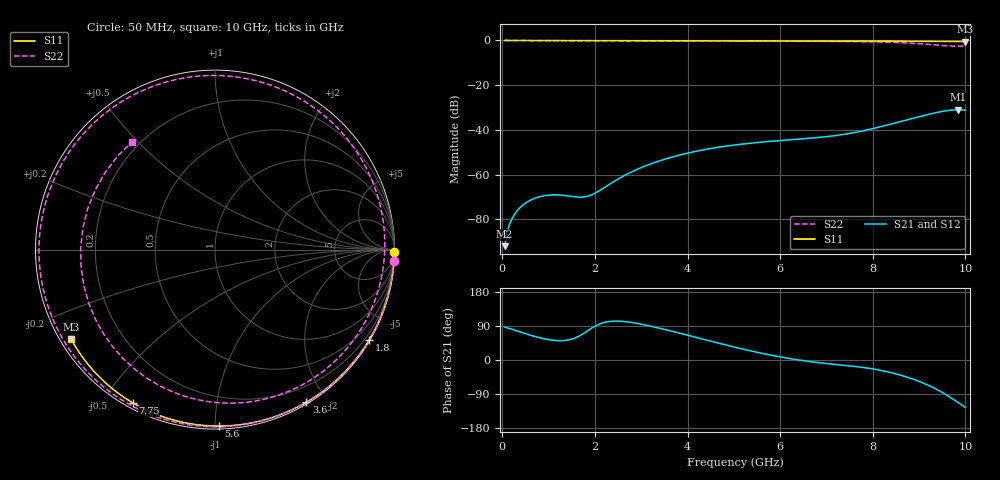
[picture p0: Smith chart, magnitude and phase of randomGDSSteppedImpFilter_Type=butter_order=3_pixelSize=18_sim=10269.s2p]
! freq	dB(S11)	phase(S11)	dB(S12)	phase(S12)
!  dB(S21)	phase(S21)	dB(S22)	phase(S22)
!S-par simulation data
#  GHz  S  DB  R 50
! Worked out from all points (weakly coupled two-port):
!   200 points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, 50 MHz to 10 GHz, reference 50 ohm
!   highest |S21| = -31.01 dB at 9.85 GHz (marker M1); lowest = -92.0 dB at 50 MHz (marker M2)
!   lowest |S11| = -0.5 dB at 10 GHz (marker M3), VSWR 34.73, Z = 1.56 - j14.3 ohm
!   |S11| at or under -10 dB: nowhere
!   |S22| runs from -2.6 to 0.0 dB; largest |S21 - S12| = 0
!   S11 on the Smith chart (normalised r, x): 50 MHz: open; 1.8 GHz: 0.03, -3.70; 3.6 GHz: 0.02, -1.77; 5.6 GHz: 0.02, -1.02; 7.75 GHz: 0.02, -0.60; 10 GHz: 0.03, -0.29
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0.05  -0.00 -0.9  -91.97 86.9  -91.97 86.9  -0.00 -3.5
0.2  -0.00 -3.4  -80.06 81.4  -80.06 81.4  -0.02 -13.9
0.45  -0.01 -7.7  -73.51 71.4  -73.51 71.4  -0.04 -30.9
0.9  -0.02 -15.3  -69.45 56.1  -69.45 56.1  -0.08 -60.3
1.3  -0.03 -22.0  -69.22 51.2  -69.22 51.2  -0.10 -84.7
1.75  -0.04 -29.4  -69.99 69.8  -69.99 69.8  -0.12 -109.7
1.8  -0.04 -30.3  -69.84 73.8  -69.84 73.8  -0.12 -112.3
2.6  -0.06 -43.3  -60.78 101.9  -60.78 101.9  -0.15 -151.2
3.4  -0.07 -55.9  -53.79 83.7  -53.79 83.7  -0.17 174.1
3.6  -0.08 -59.0  -52.52 77.7  -52.52 77.7  -0.18 165.8
4.25  -0.10 -69.0  -49.27 57.4  -49.27 57.4  -0.20 139.4
5.05  -0.12 -80.8  -46.65 32.9  -46.65 32.9  -0.24 107.1
5.6  -0.15 -88.7  -45.44 17.8  -45.44 17.8  -0.27 84.4
6.7  -0.20 -104.1  -43.61 -5.1  -43.61 -5.1  -0.35 37.4
7.25  -0.24 -111.5  -42.37 -12.5  -42.37 -12.5  -0.43 12.5
7.75  -0.27 -118.2  -40.57 -19.0  -40.57 -19.0  -0.55 -11.7
8.35  -0.32 -126.2  -37.61 -32.0  -37.61 -32.0  -0.81 -44.6
8.8  -0.37 -132.2  -35.19 -47.6  -35.19 -47.6  -1.18 -75.4
9.15  -0.40 -136.8  -33.33 -64.0  -33.33 -64.0  -1.65 -106.8
9.55  -0.45 -142.1  -31.54 -89.2  -31.54 -89.2  -2.34 -157.1
9.85  -0.48 -146.1  -31.01 -112.7  -31.01 -112.7  -2.55 153.6
10  -0.50 -148.1  -31.16 -125.0  -31.16 -125.0  -2.41 127.5
